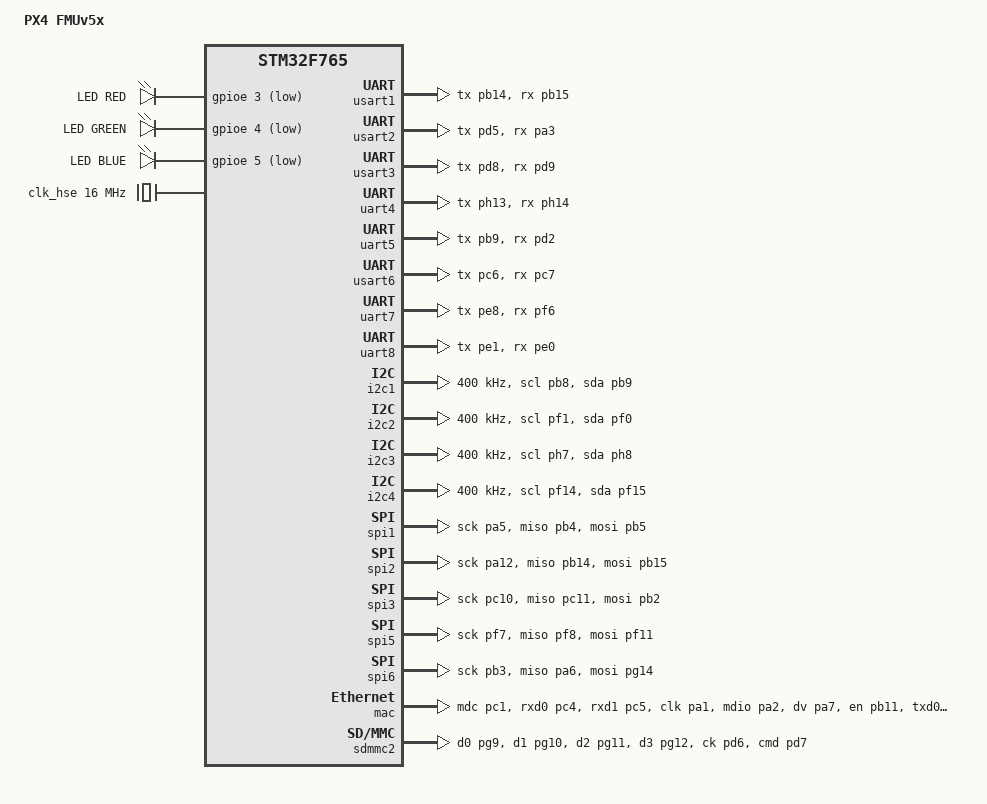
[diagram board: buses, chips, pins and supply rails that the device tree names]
/*
 * Copyright (c) 2021 PX4
 *
 * SPDX-License-Identifier:
 */

/dts-v1/;

#include <mem.h> // DT_SIZE_K()

#include <st/f7/stm32f765.dtsi>
#include <st/f7/stm32f765i(g-i)tx-pinctrl.dtsi>

/ {
	model = "PX4 FMUv5x";
	compatible = "px4,px4_fmu-v5x";

	chosen {
		//zephyr,console = &usart1;
		//zephyr,shell-uart = &usart1;
		//zephyr,sram = &sram0;
		//zephyr,flash = &flash0;
		//zephyr,dtcm = &dtcm;
		//zephyr,flash-controller = &mx25l51245g;
	};

	leds {
		compatible = "gpio-leds";
		red_led_1:led_1 {
			gpios = <&gpioe 3 GPIO_ACTIVE_LOW>;
			label = "LED RED";
		};
		green_led_2:led_2 {
			gpios = <&gpioe 4 GPIO_ACTIVE_LOW>;
			label = "LED GREEN";
		};
		blue_led_3:led_3 {
			gpios = <&gpioe 5 GPIO_ACTIVE_LOW>;
			label = "LED BLUE";
		};
	};

	aliases {
		led0 = &red_led_1;
		led1 = &green_led_2;
		led2 = &blue_led_3;
	};
};

&clk_hse {
	clock-frequency = <DT_FREQ_M(16)>;
	status = "okay";
};

&pll {
	div-m = <8>;
	mul-n = <216>;
	div-p = <2>;
	div-q = <9>;
	clocks = <&clk_hse>;
	status = "okay";
};

&rcc {
	clocks = <&pll>;
	clock-frequency = <DT_FREQ_M(216)>;
	ahb-prescaler = <1>;
	apb1-prescaler = <4>;
	apb2-prescaler = <2>;
};


&usart1 {
	pinctrl-0 = <&usart1_tx_pb14 &usart1_rx_pb15>;
	pinctrl-names = "default";
	status = "okay";
};

&usart2 {
	pinctrl-0 = <&usart2_tx_pd5 &usart2_rx_pa3>;
	pinctrl-names = "default";
	status = "okay";
};

&usart3 {
	pinctrl-0 = <&usart3_tx_pd8 &usart3_rx_pd9>;
	pinctrl-names = "default";
	status = "okay";
};

&uart4 {
	pinctrl-0 = <&uart4_tx_ph13 &uart4_rx_ph14>;
	pinctrl-names = "default";
	status = "okay";
};

&uart5 {
	pinctrl-0 = <&uart5_tx_pb9 &uart5_rx_pd2>;
	pinctrl-names = "default";
	status = "okay";
};

&usart6 {
	pinctrl-0 = <&usart6_tx_pc6 &usart6_rx_pc7>;
	pinctrl-names = "default";
	status = "okay";
};

&uart7 {
	pinctrl-0 = <&uart7_tx_pe8 &uart7_rx_pf6>;
	pinctrl-names = "default";
	status = "okay";
};

&uart8 {
	pinctrl-0 = <&uart8_tx_pe1 &uart8_rx_pe0>;
	pinctrl-names = "default";
	status = "okay";
};


&i2c1 {
	pinctrl-0 = <&i2c1_scl_pb8 &i2c1_sda_pb9>;
	pinctrl-names = "default";
	status = "okay";
	clock-frequency = <I2C_BITRATE_FAST>;
};

&i2c2 {
	pinctrl-0 = <&i2c2_scl_pf1 &i2c2_sda_pf0>;
	pinctrl-names = "default";
	status = "okay";
	clock-frequency = <I2C_BITRATE_FAST>;
};

&i2c3 {
	pinctrl-0 = <&i2c3_scl_ph7 &i2c3_sda_ph8>;
	pinctrl-names = "default";
	status = "okay";
	clock-frequency = <I2C_BITRATE_FAST>;
};

&i2c4 {
	pinctrl-0 = <&i2c4_scl_pf14 &i2c4_sda_pf15>;
	pinctrl-names = "default";
	status = "okay";
	clock-frequency = <I2C_BITRATE_FAST>;
};


&spi1 {
	pinctrl-0 = <&spi1_sck_pa5 &spi1_miso_pb4 &spi1_mosi_pb5>;
	pinctrl-names = "default";
	status = "okay";
};

&spi2 {
	pinctrl-0 = <&spi2_sck_pa12 &spi2_miso_pb14 &spi2_mosi_pb15>;
	pinctrl-names = "default";
	status = "okay";
};

&spi3 {
	pinctrl-0 = <&spi3_sck_pc10 &spi3_miso_pc11 &spi3_mosi_pb2>;
	pinctrl-names = "default";
	status = "okay";
};

&spi5 {
	pinctrl-0 = <&spi5_sck_pf7 &spi5_miso_pf8 &spi5_mosi_pf11>;
	pinctrl-names = "default";
	status = "okay";
};

&spi6 {
	pinctrl-0 = <&spi6_sck_pb3 &spi6_miso_pa6 &spi6_mosi_pg14>;
	pinctrl-names = "default";
	status = "okay";
};


&mac {
	status = "okay";
	pinctrl-0 = <&eth_mdc_pc1
		     &eth_rxd0_pc4
		     &eth_rxd1_pc5
		     &eth_ref_clk_pa1
		     &eth_mdio_pa2
		     &eth_crs_dv_pa7
		     &eth_tx_en_pb11
		     &eth_txd0_pg13
		     &eth_txd1_pb13>;
	pinctrl-names = "default";
};


&sdmmc2 {
	status = "okay";
	pinctrl-0 = <&sdmmc2_d0_pg9  &sdmmc2_d1_pg10
		     &sdmmc2_d2_pg11 &sdmmc2_d3_pg12
		     &sdmmc2_ck_pd6  &sdmmc2_cmd_pd7>;
	pinctrl-names = "default";
	cd-gpios = <&gpioi 15 GPIO_ACTIVE_LOW>;
};
